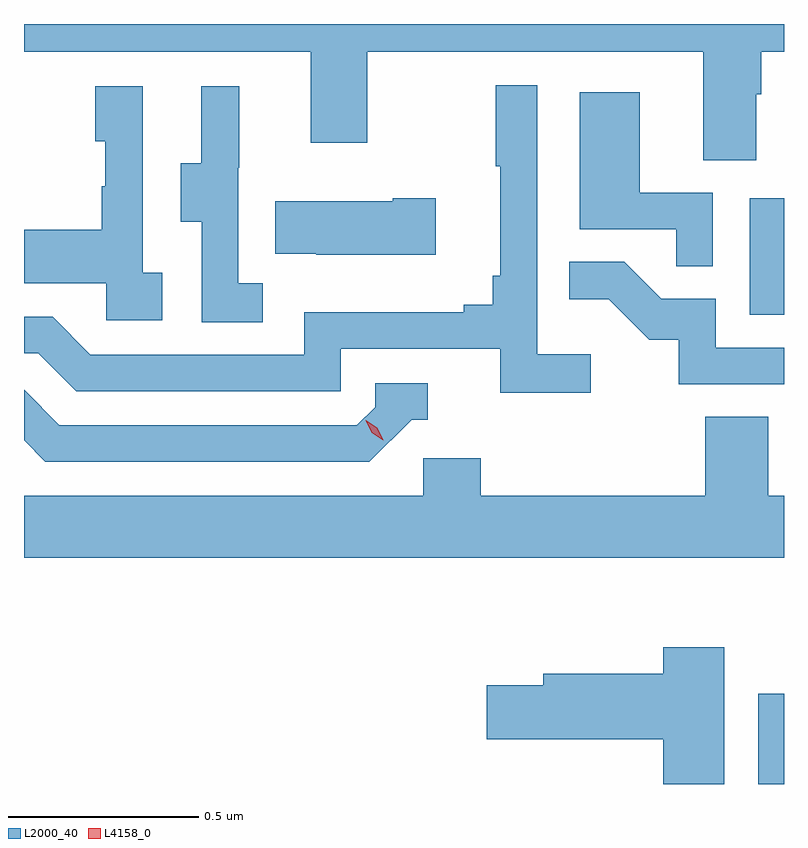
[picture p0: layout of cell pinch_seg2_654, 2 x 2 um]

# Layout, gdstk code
import gdstk
lib = gdstk.Library(unit=1e-6, precision=1e-09)
def R(c, l, rs):  # rectangles x0, y0, x1, y1
    for r in rs: c.add(gdstk.rectangle(r[:2], r[2:], *l))
def P(c, l, *ps):  # polygons
    for p in ps: c.add(gdstk.Polygon(p, *l))
L2000_40 = (2000, 40)
L4158_0 = (4158, 0)

pinch_seg2_654 = lib.new_cell('pinch_seg2_654')
R(pinch_seg2_654, L2000_40, [(1019.862,601.753,1019.93,601.99), (1019.84,602.988,1019.93,603.295)])
P(pinch_seg2_654, L2000_40, [(1019.857,603.568),(1019.87,603.568),(1019.87,603.68),(1019.93,603.68),(1019.93,603.753),(1017.93,603.753),(1017.93,603.68),(1018.685,603.68),(1018.685,603.441),(1018.833,603.441),(1018.833,603.68),(1019.717,603.68),(1019.717,603.394),(1019.857,603.394)],
  [(1019.422,602.884),(1019.28,602.884),(1019.28,603.592),(1019.172,603.592),(1019.172,603.379),(1019.183,603.379),(1019.183,603.091),(1019.164,603.091),(1019.164,603.014),(1019.087,603.014),(1019.087,602.995),(1018.668,602.995),(1018.668,602.883),(1018.104,602.883),(1018.005,602.982),(1017.93,602.982),(1017.93,602.886),(1017.968,602.886),(1018.067,602.787),(1018.764,602.787),(1018.764,602.898),(1019.183,602.898),(1019.183,602.782),(1019.422,602.782)],
  [(1018.294,603.098),(1018.242,603.098),(1018.242,603.589),(1018.118,603.589),(1018.118,603.444),(1018.144,603.444),(1018.144,603.326),(1018.134,603.326),(1018.134,603.211),(1017.93,603.211),(1017.93,603.071),(1018.146,603.071),(1018.146,602.973),(1018.294,602.973)],
  [(1018.558,603.071),(1018.494,603.071),(1018.494,603.375),(1018.496,603.375),(1018.496,603.589),(1018.397,603.589),(1018.397,603.387),(1018.343,603.387),(1018.343,603.232),(1018.398,603.232),(1018.398,602.968),(1018.558,602.968)],
  [(1019.742,603.309),(1019.551,603.309),(1019.551,603.574),(1019.393,603.574),(1019.393,603.213),(1019.647,603.213),(1019.647,603.115),(1019.742,603.115)],
  [(1019.014,603.294),(1018.901,603.294),(1018.901,603.286),(1018.591,603.286),(1018.591,603.149),(1018.699,603.149),(1018.699,603.146),(1019.014,603.146)],
  [(1019.93,602.901),(1019.751,602.901),(1019.751,603.03),(1019.607,603.03),(1019.509,603.128),(1019.365,603.128),(1019.365,603.029),(1019.469,603.029),(1019.576,602.922),(1019.653,602.922),(1019.653,602.805),(1019.93,602.805)],
  [(1018.95,602.712),(1018.993,602.712),(1018.993,602.808),(1018.854,602.808),(1018.854,602.745),(1018.806,602.697),(1018.023,602.697),(1017.93,602.79),(1017.93,602.657),(1017.986,602.601),(1018.839,602.601)],
  [(1019.93,602.512),(1019.888,602.512),(1019.888,602.72),(1019.723,602.72),(1019.723,602.512),(1019.132,602.512),(1019.132,602.61),(1018.98,602.61),(1018.98,602.512),(1017.93,602.512),(1017.93,602.348),(1019.93,602.348)],
  [(1019.773,602.113),(1019.612,602.113),(1019.612,602.043),(1019.297,602.043),(1019.297,602.013),(1019.148,602.013),(1019.148,601.871),(1019.612,601.871),(1019.612,601.753),(1019.773,601.753)])
P(pinch_seg2_654, L4158_0, [(1018.876,602.658),(1018.845,602.677),(1018.829,602.71),(1018.829,602.71),(1018.829,602.71),(1018.86,602.691),(1018.876,602.658),(1018.876,602.658)])

lib.write_gds('pinch_seg2_654.gds')
